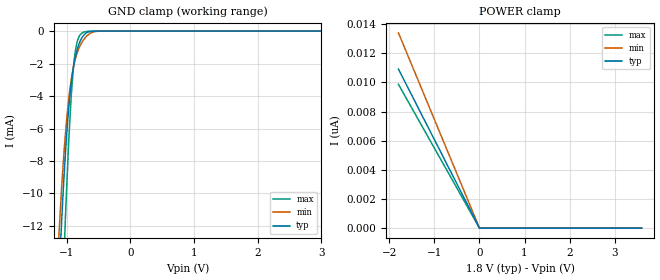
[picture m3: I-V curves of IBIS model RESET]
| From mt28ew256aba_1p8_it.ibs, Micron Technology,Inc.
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|   Model RESET
[Model]   RESET
Model_type   Input
Vinl = 0.800V
Vinh = 1.260V
|   typ   min   max
C_comp   6.823pF   6.323pF   7.323pF
[Voltage Range]   1.800V   1.650V   1.950V
| Junction Temperature (Ambient temp is 35C typ, 85C min, -40C max)
[Temperature Range]   50.0   100.0   -40.0
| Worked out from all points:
|   GND clamp passes 1 mA (typ) near -0.82 V on its own axis
[GND Clamp]
|   Voltage   I(typ)   I(min)   I(max)
-1.8V     -93.45mA   -83.18mA   -119.9mA
-1.125V   -15.75mA   -12.91mA   -23.77mA
-1.109V   -14.31mA   -11.79mA   -21.77mA
-1.082V   -12.08mA   -9.915mA   -18.55mA
-1.028V   -8.159mA   -6.82mA    -12.57mA
-968.4mV  -4.855mA   -4.276mA   -6.957mA
-930.6mV  -3.343mA   -3.108mA   -4.252mA
-898.2mV  -2.38mA    -2.358mA   -2.499mA
-833.4mV  -1.139mA   -1.346mA   -667.1uA
-730.8mV  -258.2uA   -528.1uA   -62.65uA
-493.2mV  -1.572uA   -6.779uA   -671nA
3.6V      0A         0A         0A
[POWER Clamp]
|   Voltage   I(typ)   I(min)   I(max)
-1.8V     10.91nA    13.39nA    9.865nA
0V        0A         0A         0A
3.6V      0A         0A         0A
